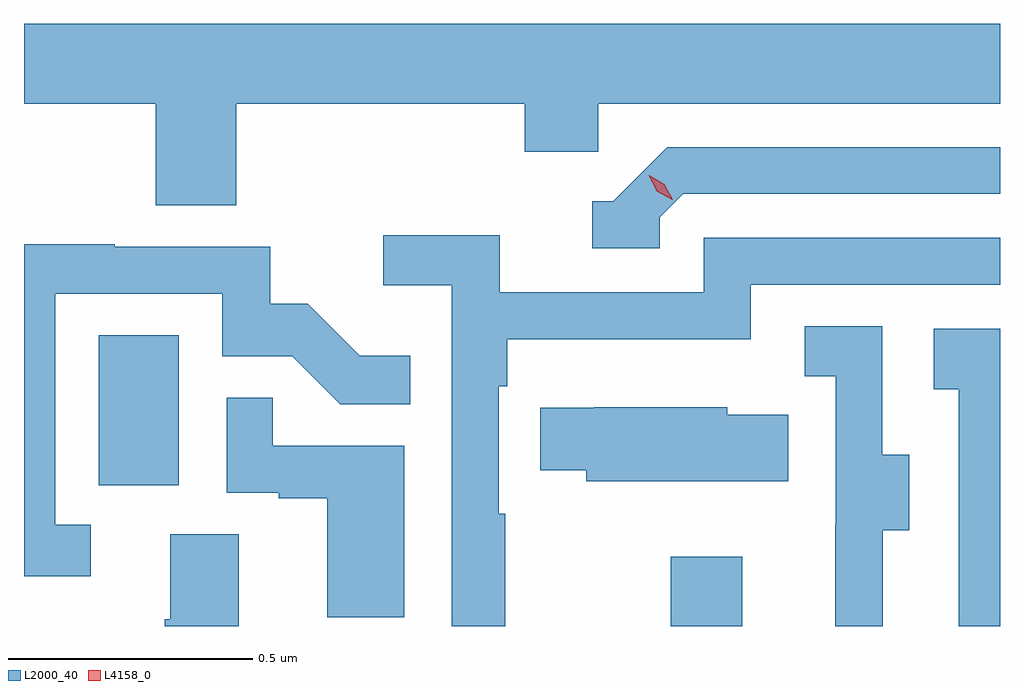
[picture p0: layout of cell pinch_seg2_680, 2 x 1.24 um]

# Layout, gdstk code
import gdstk
lib = gdstk.Library(unit=1e-6, precision=1e-09)
def R(c, l, rs):  # rectangles x0, y0, x1, y1
    for r in rs: c.add(gdstk.rectangle(r[:2], r[2:], *l))
def P(c, l, *ps):  # polygons
    for p in ps: c.add(gdstk.Polygon(p, *l))
L2000_40 = (2000, 40)
L4158_0 = (4158, 0)

pinch_seg2_680 = lib.new_cell('pinch_seg2_680')
R(pinch_seg2_680, L2000_40, [(1025.632,590.621,1025.779,590.764), (1024.46,590.91,1024.624,591.217)])
P(pinch_seg2_680, L2000_40, [(1024.742,591.692),(1025.333,591.692),(1025.333,591.594),(1025.484,591.594),(1025.484,591.692),(1026.307,591.692),(1026.307,591.856),(1024.307,591.856),(1024.307,591.692),(1024.577,591.692),(1024.577,591.484),(1024.742,591.484)],
  [(1025.61,591.459),(1025.658,591.507),(1026.307,591.507),(1026.307,591.603),(1025.625,591.603),(1025.514,591.492),(1025.471,591.492),(1025.471,591.396),(1025.61,591.396)],
  [(1025.293,590.852),(1025.28,590.852),(1025.28,591.113),(1025.297,591.113),(1025.297,591.209),(1025.796,591.209),(1025.796,591.321),(1026.307,591.321),(1026.307,591.417),(1025.7,591.417),(1025.7,591.306),(1025.282,591.306),(1025.282,591.422),(1025.043,591.422),(1025.043,591.32),(1025.184,591.32),(1025.184,590.621),(1025.293,590.621)],
  [(1024.444,590.829),(1024.371,590.829),(1024.371,591.303),(1024.713,591.303),(1024.713,591.174),(1024.857,591.174),(1024.955,591.076),(1025.099,591.076),(1025.099,591.175),(1024.995,591.175),(1024.888,591.282),(1024.812,591.282),(1024.812,591.399),(1024.493,591.399),(1024.493,591.404),(1024.307,591.404),(1024.307,590.724),(1024.444,590.724)],
  [(1026.067,590.818),(1026.121,590.818),(1026.121,590.973),(1026.066,590.973),(1026.066,591.236),(1025.907,591.236),(1025.907,591.133),(1025.97,591.133),(1025.97,590.829),(1025.969,590.829),(1025.969,590.621),(1026.067,590.621)],
  [(1026.307,591.231),(1026.171,591.231),(1026.171,591.107),(1026.222,591.107),(1026.222,590.621),(1026.307,590.621)],
  [(1025.086,590.991),(1024.817,590.991),(1024.817,591.089),(1024.722,591.089),(1024.722,590.895),(1024.829,590.895),(1024.829,590.883),(1024.928,590.883),(1024.928,590.64),(1025.086,590.64)],
  [(1025.873,591.055),(1025.748,591.055),(1025.748,591.07),(1025.476,591.07),(1025.476,591.069),(1025.365,591.069),(1025.365,590.941),(1025.459,590.941),(1025.459,590.918),(1025.873,590.918)],
  [(1024.747,590.81),(1024.607,590.81),(1024.607,590.636),(1024.595,590.636),(1024.595,590.621),(1024.747,590.621)])
P(pinch_seg2_680, L4158_0, [(1025.635,591.495),(1025.604,591.513),(1025.587,591.545),(1025.587,591.545),(1025.588,591.545),(1025.619,591.527),(1025.636,591.495),(1025.636,591.495)])

lib.write_gds('pinch_seg2_680.gds')
